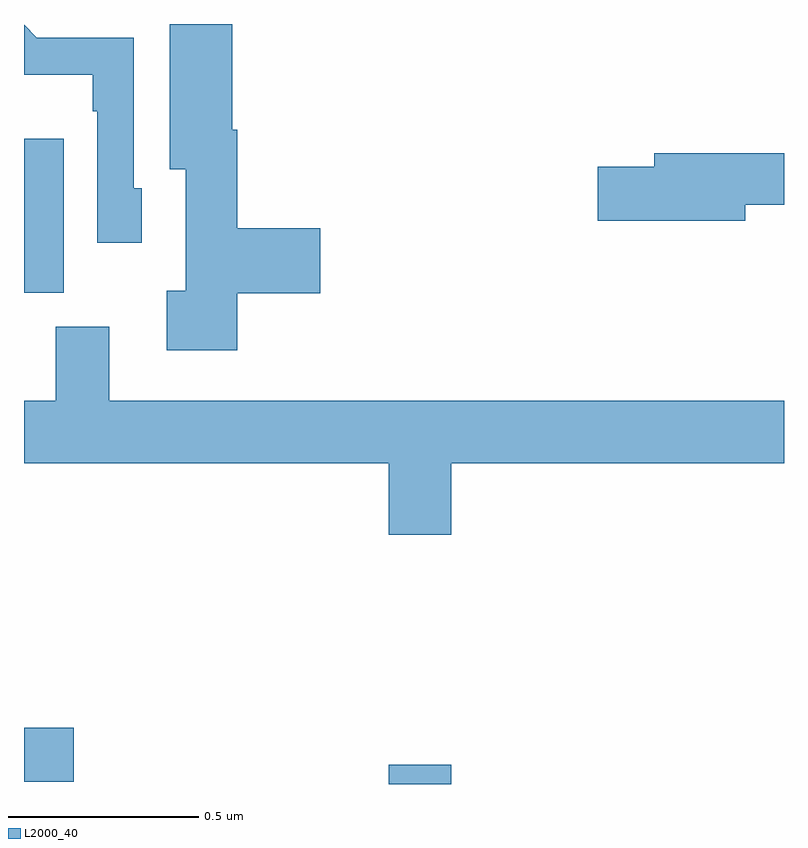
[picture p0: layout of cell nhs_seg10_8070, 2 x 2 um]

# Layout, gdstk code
import gdstk
lib = gdstk.Library(unit=1e-6, precision=1e-09)
def R(c, l, rs):  # rectangles x0, y0, x1, y1
    for r in rs: c.add(gdstk.rectangle(r[:2], r[2:], *l))
def P(c, l, *ps):  # polygons
    for p in ps: c.add(gdstk.Polygon(p, *l))
L2000_40 = (2000, 40)

nhs_seg10_8070 = lib.new_cell('nhs_seg10_8070')
R(nhs_seg10_8070, L2000_40, [(212.96,1271.5,213.124,1271.551), (212,1271.506,212.131,1271.648), (212,1272.793,212.104,1273.198)])
P(nhs_seg10_8070, L2000_40, [(212.561,1272.791),(212.779,1272.791),(212.779,1272.962),(212.561,1272.962),(212.561,1273.222),(212.548,1273.222),(212.548,1273.5),(212.384,1273.5),(212.384,1273.118),(212.426,1273.118),(212.426,1272.798),(212.376,1272.798),(212.376,1272.642),(212.561,1272.642)],
  [(212.31,1273.068),(212.289,1273.068),(212.289,1273.464),(212.034,1273.464),(212,1273.498),(212,1273.367),(212.181,1273.367),(212.181,1273.271),(212.193,1273.271),(212.193,1272.924),(212.31,1272.924)],
  [(213.898,1273.024),(214,1273.024),(214,1273.16),(213.659,1273.16),(213.659,1273.124),(213.51,1273.124),(213.51,1272.982),(213.898,1272.982)],
  [(213.124,1272.344),(214,1272.344),(214,1272.508),(212.224,1272.508),(212.224,1272.703),(212.084,1272.703),(212.084,1272.508),(212,1272.508),(212,1272.344),(212.96,1272.344),(212.96,1272.156),(213.124,1272.156)])

lib.write_gds('nhs_seg10_8070.gds')
